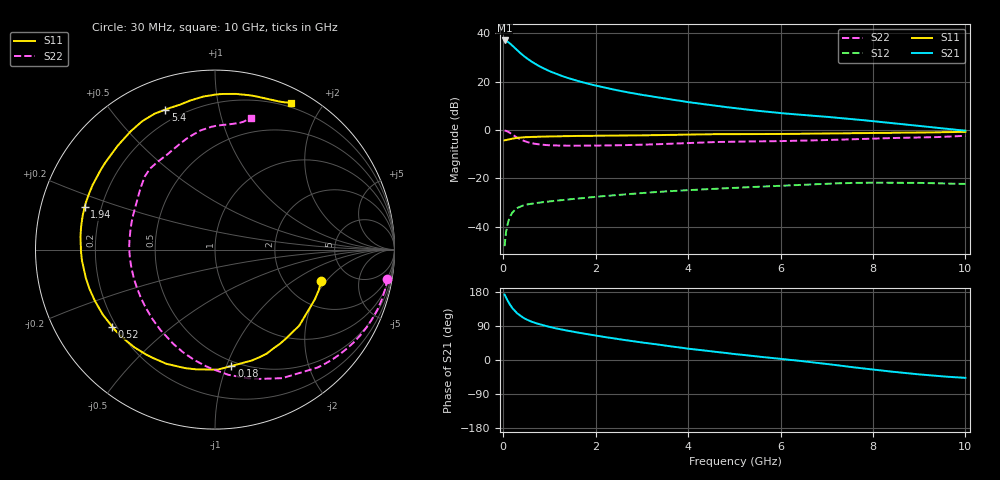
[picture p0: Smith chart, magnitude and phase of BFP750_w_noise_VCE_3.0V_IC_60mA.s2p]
! Infineon Technologies  Discrete & RF Semiconductors
! BFP750
! VCE =  3.0 V,  IC =  60 mA
! Common Emitter S-Parameters:  Jan 2016
# GHz  S  MA  R  50
!  f  S11  S21  S12  S22
! GHz  MAG  ANG  MAG  ANG  MAG  ANG  MAG  ANG
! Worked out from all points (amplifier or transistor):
!   229 points, 30 MHz to 10 GHz, reference 50 ohm
!   highest |S21| = 37.0 dB at 30 MHz (marker M1)
!   |S21| within 3 dB of that: start of sweep to 245.6 MHz
!   unconditionally stable (mu >= 1): 3.772 GHz to end of sweep
!   at 280 MHz: K = 0.18, MSG = 33.0 dB, |S12| = -32.5 dB
!   at 1.78 GHz: K = 0.73, MSG = 23.7 dB, |S12| = -28.0 dB
!   at 10 GHz: K = 1.05, MAG = 9.7 dB, |S12| = -22.2 dB
!   lowest NFmin = 1.14 dB at 450 MHz
!   S11 on the Smith chart (normalised r, x): 30 MHz: 3.17, -1.76; 180 MHz: 0.46, -1.04; 520 MHz: 0.18, -0.32; 1.94 GHz: 0.14, +0.16; 5.4 GHz: 0.14, +0.70; 10 GHz: 0.15, +1.63
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0.03  0.6173 -16.2  71.06 172.6  0.004 83.2  0.9742 -9.6
0.05  0.6217 -26.5  70.68 167.1  0.0063 78.9  0.9703 -16.8
0.1  0.6338 -51.2  66.61 155.7  0.0118 69.0  0.9298 -33.8
0.15  0.651 -71.7  61.25 145.4  0.0165 60.1  0.8709 -49.0
0.18  0.6548 -82.0  57.51 140.3  0.0185 55.6  0.8281 -56.7
0.2  0.6689 -88.7  55.3 136.6  0.0199 53.1  0.8087 -62.3
0.26  0.681 -104.1  48.83 128.5  0.0229 46.7  0.7398 -75.7
0.3  0.6916 -113.1  44.89 123.4  0.0245 43.3  0.7017 -83.9
0.34  0.6961 -120.2  41.38 119.6  0.0256 40.4  0.667 -90.9
0.4  0.7059 -129.5  36.85 114.1  0.0271 37.1  0.6259 -100.6
0.52  0.7155 -143.1  29.99 106.2  0.0291 32.6  0.5669 -115.6
0.7  0.7278 -157.0  23.07 97.4  0.0311 28.8  0.5189 -132.9
0.9  0.7367 -167.4  18.29 90.3  0.0328 27.0  0.4936 -146.4
1.2  0.7466 -178.8  13.86 82.0  0.0352 25.8  0.4793 -160.8
1.7  0.7594 167.4  9.827 70.7  0.0392 25.0  0.4768 -177.0
1.94  0.764 162.0  8.576 65.7  0.0412 24.5  0.4785 176.8
3.4  0.7893 134.7  4.638 39.8  0.0532 18.7  0.5129 148.1
5.1  0.828 112.8  2.778 14.6  0.0647 9.4  0.5791 127.7
5.4  0.8279 109.5  2.575 10.6  0.0667 7.5  0.5827 124.2
6.8  0.849 96.4  1.944 -7.5  0.0767 -2.2  0.6157 109.6
8.4  0.8809 77.5  1.399 -30.6  0.0821 -17.5  0.6845 91.7
10  0.9204 62.8  0.974 -47.1  0.0772 -29.1  0.7626 74.7
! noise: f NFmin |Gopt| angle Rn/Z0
0.45  1.14  0.21  -168  0.44
0.9  1.16  0.29  -162  0.19
1.5  1.18  0.38  -155  0.09
1.9  1.19  0.41  -150  0.08
2.4  1.2  0.42  -142  0.09
3.5  1.43  0.42  -127  0.12
